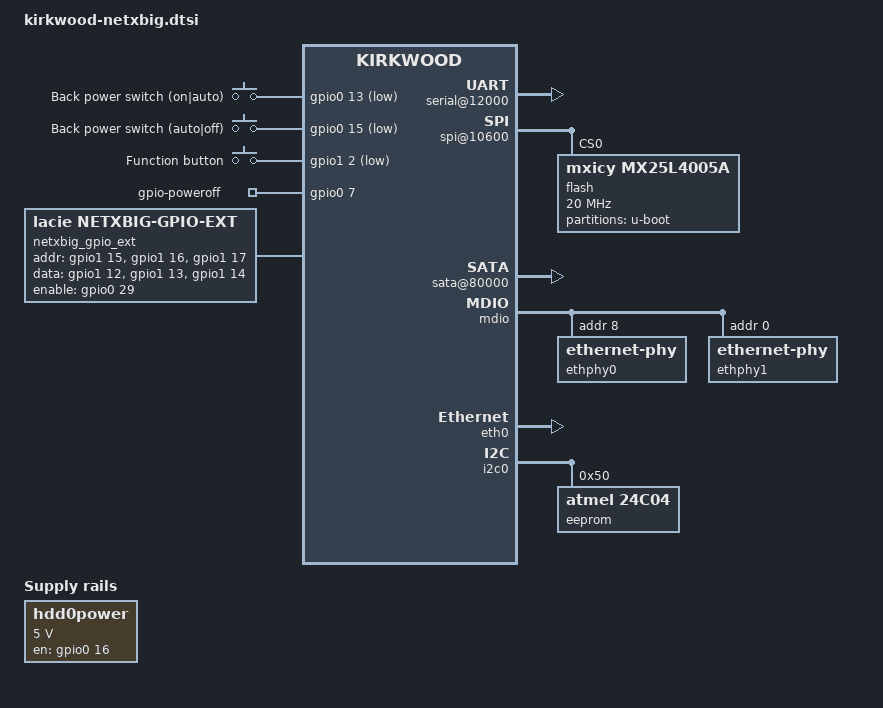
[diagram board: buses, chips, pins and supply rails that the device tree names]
// SPDX-License-Identifier: GPL-2.0
/*
 * Device Tree common file for LaCie 2Big and 5Big Network v2
 *
 * Copyright (C) 2014
 *
 * Andrew Lunn <andrew@lunn.ch>
 *
 * Based on netxbig_v2-setup.c,
 * Copyright (C) 2010 Simon Guinot <sguinot@lacie.com>
 *
*/

#include <dt-bindings/leds/leds-netxbig.h>
#include "kirkwood.dtsi"
#include "kirkwood-6281.dtsi"

/ {
	chosen {
		bootargs = "console=ttyS0,115200n8";
		stdout-path = &uart0;
	};

	ocp@f1000000 {
		serial@12000 {
			status = "okay";
		};

		spi@10600 {
			status = "okay";

			flash@0 {
				#address-cells = <1>;
				#size-cells = <1>;
				compatible = "mxicy,mx25l4005a", "jedec,spi-nor";
				reg = <0>;
				spi-max-frequency = <20000000>;
				mode = <0>;

				partition@0 {
					reg = <0x0 0x80000>;
					label = "u-boot";
				};
			};
		};

		sata@80000 {
			status = "okay";
			nr-ports = <2>;
		};

	};

	gpio-keys {
		compatible = "gpio-keys";

		/*
		 * esc and power represent a three position rocker
		 * switch. Thus the conventional KEY_POWER does not fit
		 */
		button-exc {
			label = "Back power switch (on|auto)";
			linux,code = <KEY_ESC>;
			linux,input-type = <5>;
			gpios = <&gpio0 13 GPIO_ACTIVE_LOW>;
		};
		button-power {
			label = "Back power switch (auto|off)";
			linux,code = <KEY_1>;
			linux,input-type = <5>;
			gpios = <&gpio0 15 GPIO_ACTIVE_LOW>;
		};
		button-option {
			label = "Function button";
			linux,code = <KEY_OPTION>;
			gpios = <&gpio1 2 GPIO_ACTIVE_LOW>;
		};

	};

	gpio-poweroff {
		compatible = "gpio-poweroff";
		gpios = <&gpio0 7 GPIO_ACTIVE_HIGH>;
	};

	regulators: regulators {
		status = "okay";
		compatible = "simple-bus";
		#address-cells = <1>;
		#size-cells = <0>;
		pinctrl-names = "default";

		regulator@1 {
			compatible = "regulator-fixed";
			reg = <1>;
			regulator-name = "hdd0power";
			regulator-min-microvolt = <5000000>;
			regulator-max-microvolt = <5000000>;
			enable-active-high;
			regulator-always-on;
			regulator-boot-on;
			gpio = <&gpio0 16 GPIO_ACTIVE_HIGH>;
		};
	};

	netxbig_gpio_ext: netxbig-gpio-ext {
		compatible = "lacie,netxbig-gpio-ext";

		addr-gpios = <&gpio1 15 GPIO_ACTIVE_HIGH
			      &gpio1 16 GPIO_ACTIVE_HIGH
			      &gpio1 17 GPIO_ACTIVE_HIGH>;
		data-gpios = <&gpio1 12 GPIO_ACTIVE_HIGH
			      &gpio1 13 GPIO_ACTIVE_HIGH
			      &gpio1 14 GPIO_ACTIVE_HIGH>;
		enable-gpio = <&gpio0 29 GPIO_ACTIVE_HIGH>;
	};

	netxbig-leds {
		compatible = "lacie,netxbig-leds";

		gpio-ext = <&netxbig_gpio_ext>;

		timers = <NETXBIG_LED_TIMER1 500 500
			  NETXBIG_LED_TIMER2 500 1000>;

		blue-power {
			label = "netxbig:blue:power";
			mode-addr = <0>;
			mode-val = <NETXBIG_LED_OFF 0
				    NETXBIG_LED_ON 1
				    NETXBIG_LED_TIMER1 3
				    NETXBIG_LED_TIMER2 7>;
			bright-addr = <1>;
			max-brightness = <7>;
		};
		red-power {
			label = "netxbig:red:power";
			mode-addr = <0>;
			mode-val = <NETXBIG_LED_OFF 0
				    NETXBIG_LED_ON 2
				    NETXBIG_LED_TIMER1 4>;
			bright-addr = <1>;
			max-brightness = <7>;
		};
		blue-sata0 {
			label = "netxbig:blue:sata0";
			mode-addr = <3>;
			mode-val = <NETXBIG_LED_OFF 0
				    NETXBIG_LED_ON 7
				    NETXBIG_LED_SATA 1
				    NETXBIG_LED_TIMER1 3>;
			bright-addr = <2>;
			max-brightness = <7>;
		};
		red-sata0 {
			label = "netxbig:red:sata0";
			mode-addr = <3>;
			mode-val = <NETXBIG_LED_OFF 0
				    NETXBIG_LED_ON 2
				    NETXBIG_LED_TIMER1 4>;
			bright-addr = <2>;
			max-brightness = <7>;
		};
		blue-sata1 {
			label = "netxbig:blue:sata1";
			mode-addr = <4>;
			mode-val = <NETXBIG_LED_OFF 0
				    NETXBIG_LED_ON 7
				    NETXBIG_LED_SATA 1
				    NETXBIG_LED_TIMER1 3>;
			bright-addr = <2>;
			max-brightness = <7>;
		};
		red-sata1 {
			label = "netxbig:red:sata1";
			mode-addr = <4>;
			mode-val = <NETXBIG_LED_OFF 0
				    NETXBIG_LED_ON 2
				    NETXBIG_LED_TIMER1 4>;
			bright-addr = <2>;
			max-brightness = <7>;
		};
	};
};

&mdio {
	status = "okay";

	ethphy0: ethernet-phy@0 {
		reg = <8>;
	};

	ethphy1: ethernet-phy@1 {
		reg = <0>;
	};
};

&eth0 {
	status = "okay";
	ethernet0-port@0 {
		phy-handle = <&ethphy0>;
	};
};

&pinctrl {
	pinctrl-names = "default";

	pmx_button_function: pmx-button-function {
		marvell,pins = "mpp34";
		marvell,function = "gpio";
	};
	pmx_button_power_off: pmx-button-power-off {
		marvell,pins = "mpp15";
		marvell,function = "gpio";
	};
	pmx_button_power_on: pmx-button-power-on {
		marvell,pins = "mpp13";
		marvell,function = "gpio";
	};
};

&i2c0 {
	status = "okay";

	eeprom@50 {
		compatible = "atmel,24c04";
		pagesize = <16>;
		reg = <0x50>;
	};
};
